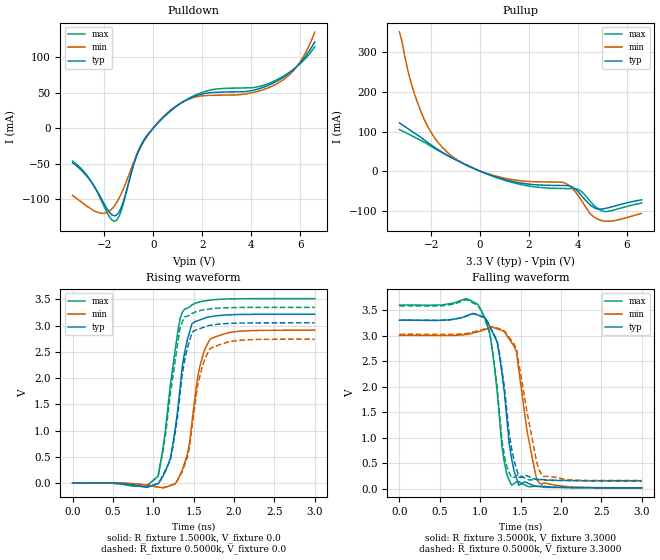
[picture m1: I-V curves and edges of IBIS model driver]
| IBIS file buffer.ibs created by s2ibis3 verion 1.1
| North Carolina State University, ERL, 2006
[IBIS ver] 3.2
[File name] buffer.ibs
[File Rev] 0
[Date]  April 1, 2004
[Source] From MegaFLOPS Inc. layout and silicon models.
[Notes]  I really wouldn't try to use this driver.  It's really bad.
[Disclaimer]  This file is only for demonstration purposes. It describes
   a really crummy driver. You can put blank lines in any
   of these sections. (But s2ibis3 won't print them.) Of course,
   as noted in the documentation, any text in these sections
   is truncated at 1KB.
[Copyright] Copyright 2004 MegaFLOPS Inc.
|   Component MCM Driver 1
[Component] MCM Driver 1
[Manufacturer] MegaFLOPS Inc.
[Package]
| variable   typ   min   max
R_pkg   2.0000m   1.0000m   4.0000m
L_pkg   0.2000nH   0.1000nH   0.4000nH
C_pkg   2.0000pF   1.0000pF   4.0000pF
[Pin]  signal_name   model_name   R_pin   L_pin   C_pin
vdd   vdd   POWER
gnd   gnd   GND
|in   in   dummy
out   out   driver
| Models and submodels in the file (1): driver (Output)
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|   Model driver
[Model]  driver
Model_type Output
Polarity   Non-Inverting
C_comp   5.0000pF   5.0000pF   5.0000pF
[Temperature Range]   27.0000   100.0000   0.0
[Voltage Range]   3.3000V   3.0000V   3.6000V
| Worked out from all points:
|   slope of the pulldown table from 0 to 0.495 V, typ, clamps not added: 27.4 ohm
|   slope of the pullup table from 0 to 0.495 V, typ, clamps not added: 42.7 ohm
|   rising waveform, R_fixture 1.5000k, V_fixture 0.0: 20-80 % time 168ps typ, 170ps min, 173ps max; typ from 0 V to 3.21 V
|   rising waveform, R_fixture 0.5000k, V_fixture 0.0: 20-80 % time 170ps typ, 174ps min, 177ps max; typ from 0 V to 3.05 V
|   falling waveform, R_fixture 3.5000k, V_fixture 3.3000: 20-80 % time 146ps typ, 172ps min, 144ps max; typ from 3.3 V to 0.023 V
|   falling waveform, R_fixture 0.5000k, V_fixture 3.3000: 20-80 % time 153ps typ, 196ps min, 146ps max; typ from 3.3 V to 0.159 V
[Pulldown]
|Voltage   I(typ)   I(min)   I(max)
-3.3V     -48.93mA   -94.81mA   -46.54mA
-2.2V     -94.65mA   -119.5mA   -96.36mA
-1.8V     -118.2mA   -117mA     -124.6mA
-1.5V     -122.5mA   -104.9mA   -129.8mA
-1.3V     -110.9mA   -91.68mA   -115.3mA
-800mV    -51.3mA    -48.05mA   -50.03mA
-500mV    -24.59mA   -25.57mA   -23.54mA
600mV     21.34mA    22.16mA    20.91mA
2.1V      48.76mA    45.67mA    51.37mA
5V        65.13mA    61.45mA    67.15mA
5.9V      87.99mA    88.06mA    87.42mA
6.6V      121.3mA    135.2mA    114.5mA
[Pullup]
|Voltage   I(typ)   I(min)   I(max)
-3.3V     122mA      351.7mA    105.1mA
-2.9V     105.2mA    241mA      92.79mA
-2.4V     84.36mA    147.1mA    76.85mA
-1.8V     57.62mA    79.09mA    55.14mA
-1.1V     32.08mA    35.42mA    32.04mA
-200mV    5.278mA    4.741mA    5.561mA
900mV     -19.42mA   -16.35mA   -21.23mA
3.5V      -36.42mA   -31.25mA   -44.04mA
4.1V      -58.78mA   -70.62mA   -49.84mA
4.5V      -85.43mA   -107.5mA   -76.41mA
4.9V      -96.11mA   -123.8mA   -98.02mA
6.6V      -72.53mA   -106.7mA   -80.71mA
[Ramp]
| variable   typ   min   max
dV/dt_r  1.8312/0.1696n   1.6440/0.1935n   2.0076/0.1773n
dV/dt_f  1.8845/0.1525n   1.7182/0.1972n   2.0519/0.1471n
R_load = 0.5000k
[Rising Waveform]
R_fixture= 1.5000k
V_fixture= 0.0
|time   V(typ)   V(min)   V(max)
0s        10.69nV    85.66nV    4.308nV
910ps     -80.19mV   -40.56mV   -66.38mV
1.06ns    -9.862mV   -76.44mV   133.6mV
1.21ns    462.1mV    -49.04mV   1.856V
1.33ns    1.793V     148.7mV    3.122V
1.39ns    2.506V     394mV      3.316V
1.45ns    2.88V      771.2mV    3.355V
1.55ns    3.093V     2.028V     3.439V
1.7ns     3.167V     2.735V     3.483V
3ns       3.215V     2.911V     3.513V
[Rising Waveform]
R_fixture= 0.5000k
V_fixture= 0.0
|time   V(typ)   V(min)   V(max)
0s        10.36nV    83.17nV    4.169nV
910ps     -77.95mV   -39.38mV   -64.44mV
1.06ns    -9.059mV   -73.93mV   130.4mV
1.21ns    426.9mV    -46.76mV   1.682V
1.33ns    1.673V     133.1mV    2.946V
1.39ns    2.349V     351.6mV    3.168V
1.45ns    2.715V     694.6mV    3.195V
1.55ns    2.927V     1.862V     3.272V
1.7ns     3.004V     2.558V     3.315V
3ns       3.052V     2.74V      3.346V
[Falling Waveform]
R_fixture= 3.5000k
V_fixture= 3.3000
|time   V(typ)   V(min)   V(max)
0s        3.3V       3.004V     3.597V
970ps     3.404V     3.071V     3.612V
1.12ns    3.172V     3.152V     3.037V
1.21ns    2.876V     3.131V     1.923V
1.3ns     1.883V     3.072V     512.6mV
1.39ns    584.3mV    2.859V     73.74mV
1.48ns    72.27mV    2.308V     140.8mV
1.58ns    120.5mV    1.138V     55.87mV
1.73ns    51.34mV    117.6mV    46.96mV
3ns       23.02mV    21.84mV    23.9mV
[Falling Waveform]
R_fixture= 0.5000k
V_fixture= 3.3000
|time   V(typ)   V(min)   V(max)
0s        3.3V       3.025V     3.58V
970ps     3.398V     3.089V     3.592V
1.12ns    3.178V     3.165V     3.037V
1.21ns    2.901V     3.146V     1.984V
1.3ns     1.988V     3.091V     654.7mV
1.39ns    783.3mV    2.897V     216.3mV
1.48ns    227.4mV    2.442V     270.1mV
1.7ns     184.3mV    518.8mV    189mV
1.76ns    185.1mV    278.9mV    179.3mV
3ns       159.1mV    150.5mV    164.7mV
